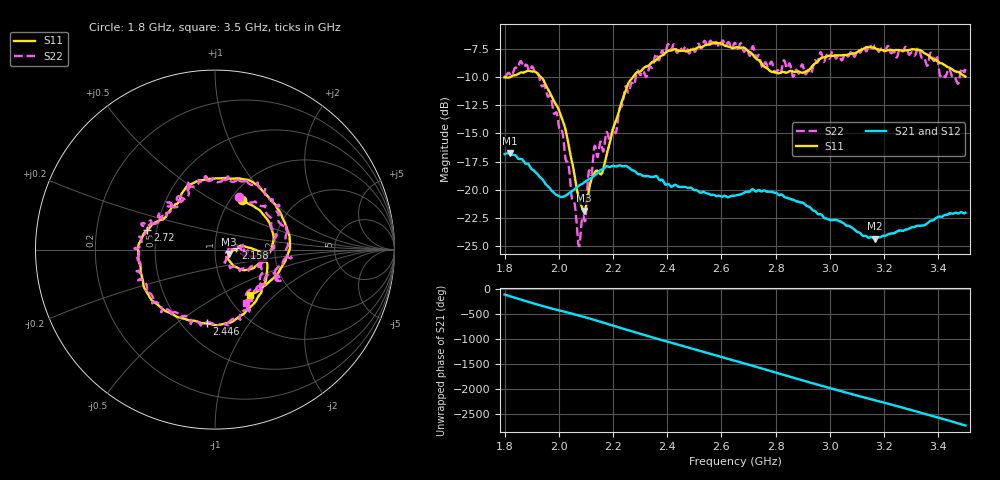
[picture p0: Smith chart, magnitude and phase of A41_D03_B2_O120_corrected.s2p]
! Created with skrf 1.9.0 (http://scikit-rf.org).
# Hz S RI R 50.0
!freq ReS11 ImS11 ReS21 ImS21 ReS12 ImS12 ReS22 ImS22
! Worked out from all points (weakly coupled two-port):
!   1601 points, 1.8 GHz to 3.5 GHz, reference 50 ohm
!   highest |S21| = -16.75 dB at 1.819 GHz (marker M1); lowest = -24.4 dB at 3.165 GHz (marker M2)
!   lowest |S11| = -21.9 dB at 2.093 GHz (marker M3), VSWR 1.18, Z = 58.2 - j2.94 ohm
!   |S11| at or under -10 dB: start of sweep to 1.82 GHz; 1.935 GHz to 2.273 GHz (338.1 MHz wide, 16.1 % of centre)
!   |S22| runs from -25.0 to -6.7 dB; largest |S21 - S12| = 0.0025
!   S11 on the Smith chart (normalised r, x): 1.8 GHz: 1.13, +0.70; 2.158 GHz: 1.27, +0.02; 2.446 GHz: 0.66, -0.65; 2.72 GHz: 0.44, +0.11; 3.5 GHz: 1.26, -0.71
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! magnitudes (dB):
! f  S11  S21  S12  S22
! 1.8 GHz  -10.0  -16.8  -16.8  -9.8
! 1.819 GHz  -10.0  -16.7  -16.8  -9.7
! 1.903 GHz  -9.5  -18.2  -18.2  -9.1
! 1.968 GHz  -11.4  -19.9  -20.0  -11.6
! 2.014 GHz  -13.8  -20.6  -20.7  -14.9
! 2.072 GHz  -20.6  -19.7  -19.7  -24.8
! 2.084 GHz  -21.5  -19.5  -19.5  -23.0
! 2.093 GHz  -21.9  -19.4  -19.4  -22.6
! 2.13 GHz  -18.5  -18.8  -18.8  -16.3
! 2.158 GHz  -18.6  -18.2  -18.2  -16.0
! 2.258 GHz  -10.5  -18.0  -18.0  -11.4
! 2.367 GHz  -8.3  -19.0  -19.0  -8.4
! 2.446 GHz  -7.7  -19.8  -19.8  -7.3
! 2.65 GHz  -7.4  -20.5  -20.5  -6.9
! 2.72 GHz  -8.1  -20.0  -20.0  -7.5
! 2.803 GHz  -9.6  -20.3  -20.3  -9.5
! 2.934 GHz  -9.1  -21.8  -21.7  -9.5
! 3.165 GHz  -7.4  -24.4  -24.4  -7.2
! 3.217 GHz  -7.6  -23.9  -23.9  -7.3
! 3.376 GHz  -8.3  -22.7  -22.7  -8.0
! 3.469 GHz  -9.5  -22.1  -22.1  -10.5
! 3.5 GHz  -9.9  -22.1  -22.1  -9.3
